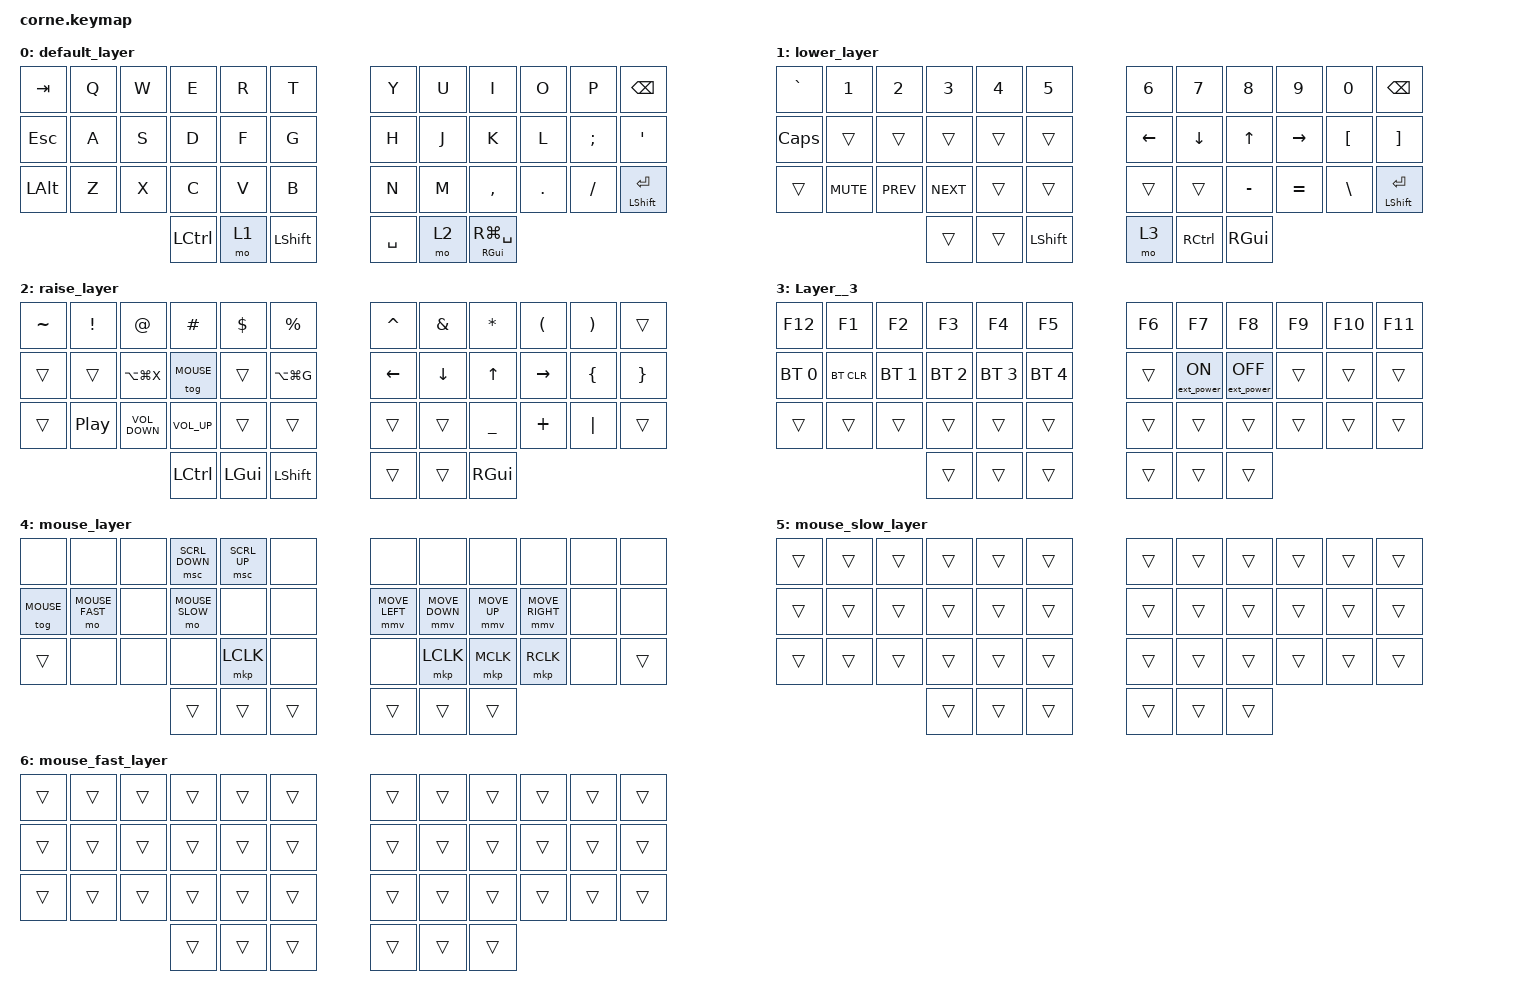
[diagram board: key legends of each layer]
/*
 * Copyright (c) 2020 The ZMK Contributors
 *
 * SPDX-License-Identifier: MIT
 */

#include <behaviors.dtsi>
#include <dt-bindings/zmk/bt.h>
#include <dt-bindings/zmk/ext_power.h>
#include <dt-bindings/zmk/keys.h>
#include <dt-bindings/zmk/pointing.h>
#include <input/processors.dtsi>

#define MOUSE 4
#define MOUSE_SLOW 5
#define MOUSE_FAST 6

// Hold A / D on the mouse layer to speed up / slow down the cursor (warpd's
// accelerator / decelerator keys).
&mmv_input_listener {
    slow {
        layers = <MOUSE_SLOW>;
        input-processors = <&zip_xy_scaler 1 4>;
    };
    fast {
        layers = <MOUSE_FAST>;
        input-processors = <&zip_xy_scaler 3 1>;
    };
};

/ {
    keymap {
        compatible = "zmk,keymap";

        default_layer {
            // -----------------------------------------------------------------------------------------
            // |  TAB |  Q  |  W  |  E  |  R  |  T  |   |  Y  |  U   |  I  |  O  |  P  | BKSP |
            // | CTRL |  A  |  S  |  D  |  F  |  G  |   |  H  |  J   |  K  |  L  |  ;  |  '   |
            // | SHFT |  Z  |  X  |  C  |  V  |  B  |   |  N  |  M   |  ,  |  .  |  /  | ESC  |
            //                    | GUI | LWR | SPC |   | ENT | RSE  | ALT |

            bindings = <
&kp TAB       &kp Q  &kp W  &kp E             &kp R  &kp T           &kp Y      &kp U  &kp I                    &kp O    &kp P     &kp BSPC
&kp ESC       &kp A  &kp S  &kp D             &kp F  &kp G           &kp H      &kp J  &kp K                    &kp L    &kp SEMI  &kp SQT
&kp LEFT_ALT  &kp Z  &kp X  &kp C             &kp V  &kp B           &kp N      &kp M  &kp COMMA                &kp DOT  &kp FSLH  &mt LEFT_SHIFT ENTER
                            &kp LEFT_CONTROL  &mo 1  &kp LEFT_SHIFT  &kp SPACE  &mo 2  &mt RIGHT_GUI RG(SPACE)
            >;
        };

        lower_layer {
            // -----------------------------------------------------------------------------------------
            // |  TAB |  1  |  2  |  3  |  4  |  5  |   |  6  |  7  |  8  |  9  |  0  | BKSP |
            // | BTCLR| BT1 | BT2 | BT3 | BT4 | BT5 |   | LFT | DWN |  UP | RGT |     |      |
            // | SHFT |     |     |     |     |     |   |     |     |     |     |     |      |
            //                    | GUI |     | SPC |   | ENT |     | ALT |

            bindings = <
&kp GRAVE  &kp N1      &kp N2      &kp N3      &kp N4  &kp N5          &kp N6    &kp N7             &kp N8         &kp N9     &kp N0            &kp BSPC
&kp CAPS   &trans      &trans      &trans      &trans  &trans          &kp LEFT  &kp DOWN           &kp UP         &kp RIGHT  &kp LEFT_BRACKET  &kp RIGHT_BRACKET
&trans     &kp C_MUTE  &kp C_PREV  &kp C_NEXT  &trans  &trans          &trans    &trans             &kp MINUS      &kp EQUAL  &kp BACKSLASH     &mt LEFT_SHIFT ENTER
                                   &trans      &trans  &kp LEFT_SHIFT  &mo 3     &kp RIGHT_CONTROL  &kp RIGHT_GUI
            >;
        };

        raise_layer {
            // -----------------------------------------------------------------------------------------
            // |  TAB |  !  |  @  |  #  |  $  |  %  |   |  ^  |  &  |  *  |  (  |  )  | BKSP |
            // | CTRL |     |     |     |     |     |   |  -  |  =  |  [  |  ]  |  \  |  `   |
            // | SHFT |     |     |     |     |     |   |  _  |  +  |  {  |  }  | "|" |  ~   |
            //                    | GUI |     | SPC |   | ENT |     | ALT |

            bindings = <
&kp TILDE  &kp EXCL  &kp AT             &kp HASH         &kp DLLR      &kp PRCNT       &kp CARET  &kp AMPS  &kp ASTERISK   &kp LPAR   &kp RPAR        &trans
&trans     &trans    &kp LA(LG(X))      &tog MOUSE       &trans        &kp LA(LG(G))   &kp LEFT   &kp DOWN  &kp UP         &kp RIGHT  &kp LEFT_BRACE  &kp RIGHT_BRACE
&trans     &kp C_PP  &kp C_VOLUME_DOWN  &kp C_VOLUME_UP  &trans        &trans          &trans     &trans    &kp UNDER      &kp PLUS   &kp PIPE        &trans
                                        &kp LCTRL        &kp LEFT_GUI  &kp LEFT_SHIFT  &trans     &trans    &kp RIGHT_GUI
            >;
        };

        Layer__3 {
            bindings = <
&kp F12       &kp F1      &kp F2        &kp F3        &kp F4        &kp F5        &kp F6  &kp F7            &kp F8             &kp F9  &kp F10  &kp F11
&bt BT_SEL 0  &bt BT_CLR  &bt BT_SEL 1  &bt BT_SEL 2  &bt BT_SEL 3  &bt BT_SEL 4  &trans  &ext_power EP_ON  &ext_power EP_OFF  &trans  &trans   &trans
&trans        &trans      &trans        &trans        &trans        &trans        &trans  &trans            &trans             &trans  &trans   &trans
                                        &trans        &trans        &trans        &trans  &trans            &trans
            >;
        };

        mouse_layer {
            // Toggled by raise + D (replaces warpd's normal mode; raise + S / G still fire
            // warpd's hint / grid). Same keys as warpd's defaults.
            // -----------------------------------------------------------------------------------------
            // |      |     |     | SDN | SUP |     |   |     |     |     |     |     |      |
            // | EXIT | FST |     | SLW |     |     |   |  ←  |  ↓  |  ↑  |  →  |     |      |
            // | ALT  |     |     |     | LCK |     |   |     | LCK | MCK | RCK |     | SHFT |
            //                    | CTRL|     | SHFT|   | SPC | RSE | GUI |
            // V is a held left click, so hold V + hjkl to drag. Modifiers stay live for cmd-click etc.

            bindings = <
&none        &none         &none  &msc SCRL_DOWN   &msc SCRL_UP  &none           &none            &none         &none          &none          &none  &none
&tog MOUSE   &mo MOUSE_FAST  &none  &mo MOUSE_SLOW   &none         &none           &mmv MOVE_LEFT   &mmv MOVE_DOWN  &mmv MOVE_UP   &mmv MOVE_RIGHT  &none  &none
&trans       &none         &none  &none            &mkp LCLK     &none           &none            &mkp LCLK     &mkp MCLK      &mkp RCLK      &none  &trans
                                  &trans           &trans        &trans          &trans           &trans        &trans
            >;
        };

        mouse_slow_layer {
            bindings = <
&trans  &trans  &trans  &trans  &trans  &trans  &trans  &trans  &trans  &trans  &trans  &trans
&trans  &trans  &trans  &trans  &trans  &trans  &trans  &trans  &trans  &trans  &trans  &trans
&trans  &trans  &trans  &trans  &trans  &trans  &trans  &trans  &trans  &trans  &trans  &trans
                        &trans  &trans  &trans  &trans  &trans  &trans
            >;
        };

        mouse_fast_layer {
            bindings = <
&trans  &trans  &trans  &trans  &trans  &trans  &trans  &trans  &trans  &trans  &trans  &trans
&trans  &trans  &trans  &trans  &trans  &trans  &trans  &trans  &trans  &trans  &trans  &trans
&trans  &trans  &trans  &trans  &trans  &trans  &trans  &trans  &trans  &trans  &trans  &trans
                        &trans  &trans  &trans  &trans  &trans  &trans
            >;
        };
    };
};


&kscan0 {
    debounce-press-ms = <12>;
    debounce-release-ms = <10>;
    debounce-scan-period-ms = <5>;
};
